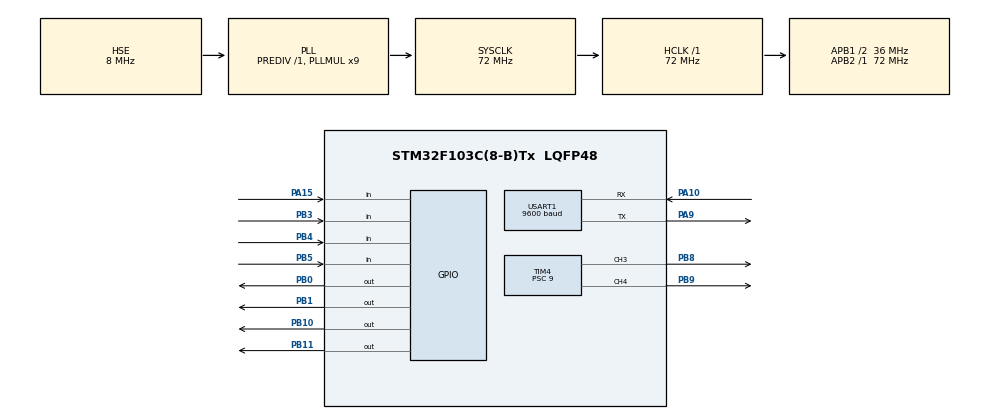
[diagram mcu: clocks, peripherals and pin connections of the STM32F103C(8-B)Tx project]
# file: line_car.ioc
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Dma.Request0=USART1_RX
Dma.Request1=USART1_TX
Dma.USART1_RX.0.Direction=DMA_PERIPH_TO_MEMORY
Dma.USART1_RX.0.Instance=DMA1_Channel5
Dma.USART1_RX.0.MemDataAlignment=DMA_MDATAALIGN_BYTE
Dma.USART1_RX.0.MemInc=DMA_MINC_ENABLE
Dma.USART1_RX.0.Mode=DMA_NORMAL
Dma.USART1_RX.0.PeriphDataAlignment=DMA_PDATAALIGN_BYTE
Dma.USART1_RX.0.PeriphInc=DMA_PINC_DISABLE
Dma.USART1_RX.0.Priority=DMA_PRIORITY_LOW
Dma.USART1_TX.1.Direction=DMA_MEMORY_TO_PERIPH
Dma.USART1_TX.1.Instance=DMA1_Channel4
Dma.USART1_TX.1.MemDataAlignment=DMA_MDATAALIGN_BYTE
Dma.USART1_TX.1.MemInc=DMA_MINC_ENABLE
Dma.USART1_TX.1.Mode=DMA_NORMAL
Dma.USART1_TX.1.PeriphDataAlignment=DMA_PDATAALIGN_BYTE
Dma.USART1_TX.1.PeriphInc=DMA_PINC_DISABLE
Dma.USART1_TX.1.Priority=DMA_PRIORITY_LOW
Mcu.Family=STM32F1
Mcu.Name=STM32F103C(8-B)Tx
Mcu.Package=LQFP48
NVIC.DMA1_Channel4_IRQn=true\:0\:0\:false\:false\:true\:false\:true
NVIC.DMA1_Channel5_IRQn=true\:0\:0\:false\:false\:true\:false\:true
NVIC.PriorityGroup=NVIC_PRIORITYGROUP_4
NVIC.TIM3_IRQn=true\:0\:0\:false\:false\:true\:true\:true
NVIC.USART1_IRQn=true\:0\:0\:false\:false\:true\:true\:true
PA10.Mode=Asynchronous
PA10.Signal=USART1_RX
PA13.Mode=Serial_Wire
PA13.Signal=SYS_JTMS-SWDIO
PA14.Mode=Serial_Wire
PA14.Signal=SYS_JTCK-SWCLK
PA15.Signal=GPIO_Input
PA9.Mode=Asynchronous
PA9.Signal=USART1_TX
PB0.Signal=GPIO_Output
PB1.Signal=GPIO_Output
PB10.Signal=GPIO_Output
PB11.Signal=GPIO_Output
PB3.Signal=GPIO_Input
PB4.Signal=GPIO_Input
PB5.Signal=GPIO_Input
PB8.Signal=S_TIM4_CH3
PB9.Signal=S_TIM4_CH4
PD0-OSC_IN.Mode=HSE-External-Oscillator
PD0-OSC_IN.Signal=RCC_OSC_IN
PD1-OSC_OUT.Mode=HSE-External-Oscillator
PD1-OSC_OUT.Signal=RCC_OSC_OUT
ProjectManager.HeapSize=0x200
ProjectManager.StackSize=0x400
ProjectManager.TargetToolchain=MDK-ARM V5.27
RCC.AHBFreq_Value=72000000
RCC.APB1CLKDivider=RCC_HCLK_DIV2
RCC.APB1Freq_Value=36000000
RCC.APB1TimFreq_Value=72000000
RCC.APB2Freq_Value=72000000
RCC.APB2TimFreq_Value=72000000
RCC.HCLKFreq_Value=72000000
RCC.PLLMUL=RCC_PLL_MUL9
RCC.PLLSourceVirtual=RCC_PLLSOURCE_HSE
RCC.SYSCLKFreq_VALUE=72000000
RCC.SYSCLKSource=RCC_SYSCLKSOURCE_PLLCLK
RCC.USBFreq_Value=72000000
SH.S_TIM4_CH3.0=TIM4_CH3,PWM Generation3 CH3
SH.S_TIM4_CH4.0=TIM4_CH4,PWM Generation4 CH4
TIM3.Period=49
TIM3.Prescaler=7999
TIM4.Channel-PWM\ Generation3\ CH3=TIM_CHANNEL_3
TIM4.Channel-PWM\ Generation4\ CH4=TIM_CHANNEL_4
TIM4.Period=254
TIM4.Prescaler=9
USART1.BaudRate=9600
USART1.VirtualMode=VM_ASYNC
VP_TIM3_VS_ClockSourceINT.Mode=Internal
VP_TIM4_VS_ClockSourceINT.Mode=Internal
board=custom

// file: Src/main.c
/* USER CODE BEGIN Header */
/**
  ******************************************************************************
  * @file           : main.c
  * @brief          : Main program body
  ******************************************************************************
  * @attention
  *
  * <h2><center>&copy; Copyright (c) 2019 STMicroelectronics.
  * All rights reserved.</center></h2>
  *
  * This software component is licensed by ST under BSD 3-Clause license,
  * the "License"; You may not use this file except in compliance with the
  * License. You may obtain a copy of the License at:
  *                        opensource.org/licenses/BSD-3-Clause
  *
  ******************************************************************************
  */
/* USER CODE END Header */

#include "main.h"
#include "dma.h"
#include "tim.h"
#include "usart.h"
#include "gpio.h"

/* USER CODE BEGIN Includes */
#include <control_motor_line.h>
PID_parameter PID_SetParameters= {.Kp =40,.Ki=0.0001,.Kd=25,.Ts = 0.005,.PID_Saturation = 180
																			,.error =0,.pre_error =0,.pre2_error=0,.pre_Out =0,.Out = 0};

//PID_parameter PID_SetParametersRight= {.Kp =40,.Ki=0.0001,.Kd=25,.Ts = 0.005,.PID_Saturation = 180
//																			,.error =0,.pre_error =0,.pre2_error=0,.pre_Out =0,.Out = 0};
//PID_parameter PID_SetParametersLeft= {.Kp =40,.Ki=0.0001,.Kd=25,.Ts = 0.005,.PID_Saturation = 180
//																			,.error =0,.pre_error =0,.pre2_error=0,.pre_Out =0,.Out = 0};

/* USER CODE END Includes */

/* USER CODE BEGIN PTD */
typedef enum{
	STOP_CONTROL=0,
	LINE_CAPTURE,
	CONTROL_BY_HAND,
}mode_t;

typedef enum{
	HC05_WAIT_START=0,
	HC05_APP,
}HC05_t;
/* USER CODE END PTD */

/* USER CODE BEGIN PD */
mode_t mode_status = STOP_CONTROL;
HC05_t HC05_status = HC05_WAIT_START;

uint8_t Rx_buff[4];
/* USER CODE END PD */

void SystemClock_Config(void);

/* USER CODE BEGIN 0 */
void HAL_TIM_PeriodElapsedCallback(TIM_HandleTypeDef *htim)
{
	if(htim->Instance==htim3.Instance)
	{

		if(mode_status == LINE_CAPTURE)
		{
			Sensor_CalculateSumValue();
			Control_CalculateValuePosition(Sensor_ReadSumValue());
			Sensor_ResetSumValue();
			PID_PROCESS(&PID_SetParameters,Control_ReadValuePosition(),0);
			Control_SetMotorLine(PID_ReadValue(&PID_SetParameters),Control_ReadValuePosition());
	  }
		else if (mode_status==CONTROL_BY_HAND)
		{
			Control_MotorByHand(Rx_buff[0]);
		}
		else if (mode_status==STOP_CONTROL)
		{
			Motor_Set_Speed(MOTOR_0,0);
			Motor_Set_Speed(MOTOR_1,0);
		}
  }
}

void HAL_UART_RxCpltCallback(UART_HandleTypeDef *huart)
{
	if(huart->Instance==huart1.Instance)
	{
		switch(HC05_status)
		{
			case HC05_WAIT_START:
			{
				if(Rx_buff[0]=='s'){
					HC05_status=HC05_APP;
					HAL_UART_Receive_DMA(&huart1,Rx_buff,1);
					break;
				}
				else if(Rx_buff[0] == '1')
				{
					HC05_status= HC05_WAIT_START;
					HAL_UART_Receive_DMA(&huart1,Rx_buff,1);
					break;
				}
			}
			case HC05_APP:
			{
				HAL_UART_Receive_DMA(&huart1,(uint8_t*)Rx_buff,1);
				if (Rx_buff[0] == 'f' || Rx_buff[0] == 'b' || Rx_buff[0] == 'r'||Rx_buff[0] == 'l'){
					mode_status = CONTROL_BY_HAND;
					HC05_status=HC05_APP;
					HAL_UART_Receive_DMA(&huart1,Rx_buff,1);
				}
				else if(Rx_buff[0] =='i'){
					mode_status = STOP_CONTROL;
				}
				else if(Rx_buff[0] =='d'){
					mode_status = LINE_CAPTURE;
					HC05_status=HC05_APP;
					HAL_UART_Receive_DMA(&huart1,Rx_buff,1);
				}
				else if(Rx_buff[0] == 'k' ){
					mode_status=CONTROL_BY_HAND;
					HC05_status=HC05_WAIT_START;
					HAL_UART_Receive_DMA(&huart1,Rx_buff,1);
				}
			}
		}
	}
}
/* USER CODE END 0 */

int main(void)
{

  /* MCU Configuration--------------------------------------------------------*/

  /* Reset of all peripherals, Initializes the Flash interface and the Systick. */
  HAL_Init();

  /* Configure the system clock */
  SystemClock_Config();

  /* Initialize all configured peripherals */
  MX_GPIO_Init();
  MX_TIM3_Init();
  MX_TIM4_Init();
  MX_USART1_UART_Init();
  MX_DMA_Init();
  /* USER CODE BEGIN 2 */
  Motor_Init();
	HAL_TIM_Base_Start_IT(&htim3);
	HAL_UART_Receive_DMA(&huart1,Rx_buff,1);
  /* USER CODE END 2 */

  /* Infinite loop */
  /* USER CODE BEGIN WHILE */
  while (1)
  {
		Sensor_ResetSumValue();
    /* USER CODE END WHILE */

	//	Sensor_ResetSumValue();
		//		if (Sensor_ReadSumValue() == 0)
//		{
//				Sensor_ResetSumValue();
//		}

  }
}

void SystemClock_Config(void)
{
  RCC_OscInitTypeDef RCC_OscInitStruct = {0};
  RCC_ClkInitTypeDef RCC_ClkInitStruct = {0};

  /** Initializes the CPU, AHB and APB busses clocks
  */
  RCC_OscInitStruct.OscillatorType = RCC_OSCILLATORTYPE_HSE;
  RCC_OscInitStruct.HSEState = RCC_HSE_ON;
  RCC_OscInitStruct.HSEPredivValue = RCC_HSE_PREDIV_DIV1;
  RCC_OscInitStruct.HSIState = RCC_HSI_ON;
  RCC_OscInitStruct.PLL.PLLState = RCC_PLL_ON;
  RCC_OscInitStruct.PLL.PLLSource = RCC_PLLSOURCE_HSE;
  RCC_OscInitStruct.PLL.PLLMUL = RCC_PLL_MUL9;
  if (HAL_RCC_OscConfig(&RCC_OscInitStruct) != HAL_OK)
  {
    Error_Handler();
  }
  /** Initializes the CPU, AHB and APB busses clocks
  */
  RCC_ClkInitStruct.ClockType = RCC_CLOCKTYPE_HCLK|RCC_CLOCKTYPE_SYSCLK
                              |RCC_CLOCKTYPE_PCLK1|RCC_CLOCKTYPE_PCLK2;
  RCC_ClkInitStruct.SYSCLKSource = RCC_SYSCLKSOURCE_PLLCLK;
  RCC_ClkInitStruct.AHBCLKDivider = RCC_SYSCLK_DIV1;
  RCC_ClkInitStruct.APB1CLKDivider = RCC_HCLK_DIV2;
  RCC_ClkInitStruct.APB2CLKDivider = RCC_HCLK_DIV1;

  if (HAL_RCC_ClockConfig(&RCC_ClkInitStruct, FLASH_LATENCY_2) != HAL_OK)
  {
    Error_Handler();
  }
}

void Error_Handler(void)
{
}

/************************ (C) COPYRIGHT STMicroelectronics *****END OF FILE****/
